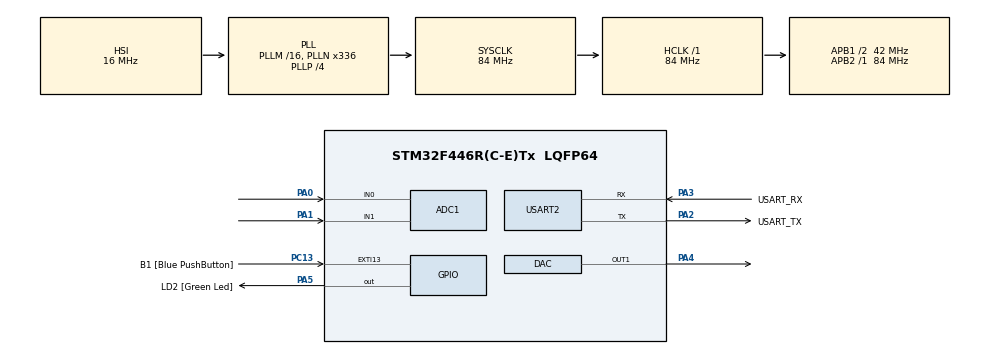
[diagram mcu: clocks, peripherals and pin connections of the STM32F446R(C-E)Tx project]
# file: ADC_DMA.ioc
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ADC1.Channel-0\#ChannelRegularConversion=ADC_CHANNEL_0
ADC1.Channel-1\#ChannelRegularConversion=ADC_CHANNEL_1
ADC1.ContinuousConvMode=DISABLE
ADC1.DMAContinuousRequests=ENABLE
ADC1.EOCSelection=ADC_EOC_SEQ_CONV
ADC1.ExternalTrigConv=ADC_EXTERNALTRIGCONV_T2_TRGO
ADC1.NbrOfConversion=2
ADC1.NbrOfConversionFlag=1
ADC1.Rank-0\#ChannelRegularConversion=1
ADC1.Rank-1\#ChannelRegularConversion=2
ADC1.SamplingTime-0\#ChannelRegularConversion=ADC_SAMPLETIME_56CYCLES
ADC1.SamplingTime-1\#ChannelRegularConversion=ADC_SAMPLETIME_56CYCLES
ADC1.ScanConvMode=ENABLE
ADC1.master=1
Dma.ADC1.0.Direction=DMA_PERIPH_TO_MEMORY
Dma.ADC1.0.FIFOMode=DMA_FIFOMODE_DISABLE
Dma.ADC1.0.Instance=DMA2_Stream0
Dma.ADC1.0.MemDataAlignment=DMA_MDATAALIGN_HALFWORD
Dma.ADC1.0.MemInc=DMA_MINC_ENABLE
Dma.ADC1.0.Mode=DMA_CIRCULAR
Dma.ADC1.0.PeriphDataAlignment=DMA_PDATAALIGN_HALFWORD
Dma.ADC1.0.PeriphInc=DMA_PINC_DISABLE
Dma.ADC1.0.Priority=DMA_PRIORITY_VERY_HIGH
Dma.Request0=ADC1
Mcu.Family=STM32F4
Mcu.Name=STM32F446R(C-E)Tx
Mcu.Package=LQFP64
NVIC.ADC_IRQn=true\:0\:0\:false\:false\:true\:true\:true\:true
NVIC.DMA2_Stream0_IRQn=true\:0\:0\:false\:false\:true\:false\:true\:true
NVIC.PriorityGroup=NVIC_PRIORITYGROUP_0
NVIC.TIM2_IRQn=true\:0\:0\:false\:false\:true\:true\:true\:true
PA0-WKUP.Signal=ADCx_IN0
PA1.Signal=ADCx_IN1
PA13.GPIO_Label=TMS
PA13.Mode=Serial_Wire
PA13.Signal=SYS_JTMS-SWDIO
PA14.GPIO_Label=TCK
PA14.Mode=Serial_Wire
PA14.Signal=SYS_JTCK-SWCLK
PA2.GPIO_Label=USART_TX
PA2.Mode=Asynchronous
PA2.Signal=USART2_TX
PA3.GPIO_Label=USART_RX
PA3.Mode=Asynchronous
PA3.Signal=USART2_RX
PA4.Signal=COMP_DAC1_group
PA5.GPIO_Label=LD2 [Green Led]
PA5.Signal=GPIO_Output
PB3.GPIO_Label=SWO
PB3.Signal=SYS_JTDO-SWO
PC13.GPIO_Label=B1 [Blue PushButton]
PC13.GPIO_ModeDefaultEXTI=GPIO_MODE_IT_FALLING
PC13.Signal=GPXTI13
PC14-OSC32_IN.Mode=LSE-External-Oscillator
PC14-OSC32_IN.Signal=RCC_OSC32_IN
PC15-OSC32_OUT.Mode=LSE-External-Oscillator
PC15-OSC32_OUT.Signal=RCC_OSC32_OUT
PH0-OSC_IN.Mode=HSE-External-Oscillator
PH0-OSC_IN.Signal=RCC_OSC_IN
PH1-OSC_OUT.Mode=HSE-External-Oscillator
PH1-OSC_OUT.Signal=RCC_OSC_OUT
ProjectManager.HeapSize=0x200
ProjectManager.StackSize=0x400
ProjectManager.TargetToolchain=STM32CubeIDE
RCC.48MHZClocksFreq_Value=84000000
RCC.AHBFreq_Value=84000000
RCC.APB1CLKDivider=RCC_HCLK_DIV2
RCC.APB1Freq_Value=42000000
RCC.APB1TimFreq_Value=84000000
RCC.APB2Freq_Value=84000000
RCC.APB2TimFreq_Value=84000000
RCC.CortexFreq_Value=84000000
RCC.FLatency-AdvancedSettings=FLASH_LATENCY_2
RCC.HCLKFreq_Value=84000000
RCC.HSE_VALUE=8000000
RCC.HSI_VALUE=16000000
RCC.PLLN=336
RCC.PLLP=RCC_PLLP_DIV4
RCC.SYSCLKFreq_VALUE=84000000
RCC.SYSCLKSource=RCC_SYSCLKSOURCE_PLLCLK
RCC.USBFreq_Value=168000000
RCC.VCOOutputFreq_Value=336000000
SH.ADCx_IN0.0=ADC1_IN0,IN0
SH.ADCx_IN1.0=ADC1_IN1,IN1
SH.COMP_DAC1_group.0=DAC_OUT1,DAC_OUT1
TIM2.Period=50000-1
TIM2.Prescaler=8400-1
TIM2.TIM_MasterOutputTrigger=TIM_TRGO_UPDATE
USART2.VirtualMode=VM_ASYNC
VP_TIM2_VS_ClockSourceINT.Mode=Internal
board=NUCLEO-F446RE

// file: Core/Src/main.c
/* USER CODE BEGIN Header */
/**
  ******************************************************************************
  * @file           : main.c
  * @brief          : Main program body
  ******************************************************************************
  * @attention
  *
  * Copyright (c) 2024 STMicroelectronics.
  * All rights reserved.
  *
  * This software is licensed under terms that can be found in the LICENSE file
  * in the root directory of this software component.
  * If no LICENSE file comes with this software, it is provided AS-IS.
  *
  ******************************************************************************
  */
/* USER CODE END Header */
#include "main.h"

ADC_HandleTypeDef hadc1;
DMA_HandleTypeDef hdma_adc1;

DAC_HandleTypeDef hdac;

TIM_HandleTypeDef htim2;

UART_HandleTypeDef huart2;

void SystemClock_Config(void);
static void MX_GPIO_Init(void);
static void MX_DMA_Init(void);
static void MX_USART2_UART_Init(void);
static void MX_ADC1_Init(void);
static void MX_DAC_Init(void);
static void MX_TIM2_Init(void);

/* USER CODE BEGIN 0 */
uint16_t adc_values[2] ;

void HAL_ADC_ConvCpltCallback(ADC_HandleTypeDef* hadc){

	if( hadc == &hadc1 ){

	}

}

HAL_TIM_PeriodElapsedCallback(TIM_HandleTypeDef *htim){

	char buffer[100];

	float adc_voltage_0 = ((float)(adc_values[0]) / 4095.0 ) * 3.3 ;
	float adc_voltage_1 = ((float)(adc_values[1]) / 4095.0 ) * 3.3 ;

	sprintf(buffer, "adc1: %f | adc2: %f \n", adc_voltage_0, adc_voltage_1);

	if( htim == &htim2 ){
		HAL_StatusTypeDef result = HAL_UART_Transmit( &huart2, buffer, strlen(buffer), 100);
	}

}

/* USER CODE END 0 */

int main(void)
{

  /* MCU Configuration--------------------------------------------------------*/

  /* Reset of all peripherals, Initializes the Flash interface and the Systick. */
  HAL_Init();

  /* Configure the system clock */
  SystemClock_Config();

  /* Initialize all configured peripherals */
  MX_GPIO_Init();
  MX_DMA_Init();
  MX_USART2_UART_Init();
  MX_ADC1_Init();
  MX_DAC_Init();
  MX_TIM2_Init();
  /* USER CODE BEGIN 2 */
  HAL_DAC_Start( &hdac , DAC_CHANNEL_1 );

  float dac_voltage = 1.15 ;				// voltage to be defined
  float v_max = 3.280 ;					// max voltage of the DAC
  uint32_t max_resolution = 4095 ;		// max value admissible by the DAC (0~4095)

  uint32_t dac_value = max_resolution * (dac_voltage / v_max) ;
  HAL_DAC_SetValue( &hdac, DAC_CHANNEL_1, DAC_ALIGN_12B_R, dac_value ) ;

  HAL_TIM_Base_Start_IT(&htim2);

  HAL_StatusTypeDef result = HAL_ADC_Start_DMA( &hadc1, adc_values, 2);
  /* USER CODE END 2 */

  /* Infinite loop */
  while (1)
  {

  }
}

void SystemClock_Config(void)
{
  RCC_OscInitTypeDef RCC_OscInitStruct = {0};
  RCC_ClkInitTypeDef RCC_ClkInitStruct = {0};

  /** Configure the main internal regulator output voltage
  */
  __HAL_RCC_PWR_CLK_ENABLE();
  __HAL_PWR_VOLTAGESCALING_CONFIG(PWR_REGULATOR_VOLTAGE_SCALE3);

  /** Initializes the RCC Oscillators according to the specified parameters
  * in the RCC_OscInitTypeDef structure.
  */
  RCC_OscInitStruct.OscillatorType = RCC_OSCILLATORTYPE_HSI;
  RCC_OscInitStruct.HSIState = RCC_HSI_ON;
  RCC_OscInitStruct.HSICalibrationValue = RCC_HSICALIBRATION_DEFAULT;
  RCC_OscInitStruct.PLL.PLLState = RCC_PLL_ON;
  RCC_OscInitStruct.PLL.PLLSource = RCC_PLLSOURCE_HSI;
  RCC_OscInitStruct.PLL.PLLM = 16;
  RCC_OscInitStruct.PLL.PLLN = 336;
  RCC_OscInitStruct.PLL.PLLP = RCC_PLLP_DIV4;
  RCC_OscInitStruct.PLL.PLLQ = 2;
  RCC_OscInitStruct.PLL.PLLR = 2;
  if (HAL_RCC_OscConfig(&RCC_OscInitStruct) != HAL_OK)
  {
    Error_Handler();
  }

  /** Initializes the CPU, AHB and APB buses clocks
  */
  RCC_ClkInitStruct.ClockType = RCC_CLOCKTYPE_HCLK|RCC_CLOCKTYPE_SYSCLK
                              |RCC_CLOCKTYPE_PCLK1|RCC_CLOCKTYPE_PCLK2;
  RCC_ClkInitStruct.SYSCLKSource = RCC_SYSCLKSOURCE_PLLCLK;
  RCC_ClkInitStruct.AHBCLKDivider = RCC_SYSCLK_DIV1;
  RCC_ClkInitStruct.APB1CLKDivider = RCC_HCLK_DIV2;
  RCC_ClkInitStruct.APB2CLKDivider = RCC_HCLK_DIV1;

  if (HAL_RCC_ClockConfig(&RCC_ClkInitStruct, FLASH_LATENCY_2) != HAL_OK)
  {
    Error_Handler();
  }
}

static void MX_ADC1_Init(void)
{

  ADC_ChannelConfTypeDef sConfig = {0};

  /** Configure the global features of the ADC (Clock, Resolution, Data Alignment and number of conversion)
  */
  hadc1.Instance = ADC1;
  hadc1.Init.ClockPrescaler = ADC_CLOCK_SYNC_PCLK_DIV4;
  hadc1.Init.Resolution = ADC_RESOLUTION_12B;
  hadc1.Init.ScanConvMode = ENABLE;
  hadc1.Init.ContinuousConvMode = DISABLE;
  hadc1.Init.DiscontinuousConvMode = DISABLE;
  hadc1.Init.ExternalTrigConvEdge = ADC_EXTERNALTRIGCONVEDGE_RISING;
  hadc1.Init.ExternalTrigConv = ADC_EXTERNALTRIGCONV_T2_TRGO;
  hadc1.Init.DataAlign = ADC_DATAALIGN_RIGHT;
  hadc1.Init.NbrOfConversion = 2;
  hadc1.Init.DMAContinuousRequests = ENABLE;
  hadc1.Init.EOCSelection = ADC_EOC_SEQ_CONV;
  if (HAL_ADC_Init(&hadc1) != HAL_OK)
  {
    Error_Handler();
  }

  /** Configure for the selected ADC regular channel its corresponding rank in the sequencer and its sample time.
  */
  sConfig.Channel = ADC_CHANNEL_0;
  sConfig.Rank = 1;
  sConfig.SamplingTime = ADC_SAMPLETIME_56CYCLES;
  if (HAL_ADC_ConfigChannel(&hadc1, &sConfig) != HAL_OK)
  {
    Error_Handler();
  }

  /** Configure for the selected ADC regular channel its corresponding rank in the sequencer and its sample time.
  */
  sConfig.Channel = ADC_CHANNEL_1;
  sConfig.Rank = 2;
  if (HAL_ADC_ConfigChannel(&hadc1, &sConfig) != HAL_OK)
  {
    Error_Handler();
  }

}

static void MX_DAC_Init(void)
{

  DAC_ChannelConfTypeDef sConfig = {0};

  /** DAC Initialization
  */
  hdac.Instance = DAC;
  if (HAL_DAC_Init(&hdac) != HAL_OK)
  {
    Error_Handler();
  }

  /** DAC channel OUT1 config
  */
  sConfig.DAC_Trigger = DAC_TRIGGER_NONE;
  sConfig.DAC_OutputBuffer = DAC_OUTPUTBUFFER_ENABLE;
  if (HAL_DAC_ConfigChannel(&hdac, &sConfig, DAC_CHANNEL_1) != HAL_OK)
  {
    Error_Handler();
  }

}

static void MX_TIM2_Init(void)
{

  TIM_ClockConfigTypeDef sClockSourceConfig = {0};
  TIM_MasterConfigTypeDef sMasterConfig = {0};

  htim2.Instance = TIM2;
  htim2.Init.Prescaler = 8400-1;
  htim2.Init.CounterMode = TIM_COUNTERMODE_UP;
  htim2.Init.Period = 50000-1;
  htim2.Init.ClockDivision = TIM_CLOCKDIVISION_DIV1;
  htim2.Init.AutoReloadPreload = TIM_AUTORELOAD_PRELOAD_DISABLE;
  if (HAL_TIM_Base_Init(&htim2) != HAL_OK)
  {
    Error_Handler();
  }
  sClockSourceConfig.ClockSource = TIM_CLOCKSOURCE_INTERNAL;
  if (HAL_TIM_ConfigClockSource(&htim2, &sClockSourceConfig) != HAL_OK)
  {
    Error_Handler();
  }
  sMasterConfig.MasterOutputTrigger = TIM_TRGO_UPDATE;
  sMasterConfig.MasterSlaveMode = TIM_MASTERSLAVEMODE_DISABLE;
  if (HAL_TIMEx_MasterConfigSynchronization(&htim2, &sMasterConfig) != HAL_OK)
  {
    Error_Handler();
  }

}

static void MX_USART2_UART_Init(void)
{

  huart2.Instance = USART2;
  huart2.Init.BaudRate = 115200;
  huart2.Init.WordLength = UART_WORDLENGTH_8B;
  huart2.Init.StopBits = UART_STOPBITS_1;
  huart2.Init.Parity = UART_PARITY_NONE;
  huart2.Init.Mode = UART_MODE_TX_RX;
  huart2.Init.HwFlowCtl = UART_HWCONTROL_NONE;
  huart2.Init.OverSampling = UART_OVERSAMPLING_16;
  if (HAL_UART_Init(&huart2) != HAL_OK)
  {
    Error_Handler();
  }

}

static void MX_DMA_Init(void)
{

  /* DMA controller clock enable */
  __HAL_RCC_DMA2_CLK_ENABLE();

  /* DMA interrupt init */
  /* DMA2_Stream0_IRQn interrupt configuration */
  HAL_NVIC_SetPriority(DMA2_Stream0_IRQn, 0, 0);
  HAL_NVIC_EnableIRQ(DMA2_Stream0_IRQn);

}

static void MX_GPIO_Init(void)
{
  GPIO_InitTypeDef GPIO_InitStruct = {0};

  /* GPIO Ports Clock Enable */
  __HAL_RCC_GPIOC_CLK_ENABLE();
  __HAL_RCC_GPIOH_CLK_ENABLE();
  __HAL_RCC_GPIOA_CLK_ENABLE();
  __HAL_RCC_GPIOB_CLK_ENABLE();

  /*Configure GPIO pin Output Level */
  HAL_GPIO_WritePin(LD2_GPIO_Port, LD2_Pin, GPIO_PIN_RESET);

  /*Configure GPIO pin : B1_Pin */
  GPIO_InitStruct.Pin = B1_Pin;
  GPIO_InitStruct.Mode = GPIO_MODE_IT_FALLING;
  GPIO_InitStruct.Pull = GPIO_NOPULL;
  HAL_GPIO_Init(B1_GPIO_Port, &GPIO_InitStruct);

  /*Configure GPIO pin : LD2_Pin */
  GPIO_InitStruct.Pin = LD2_Pin;
  GPIO_InitStruct.Mode = GPIO_MODE_OUTPUT_PP;
  GPIO_InitStruct.Pull = GPIO_NOPULL;
  GPIO_InitStruct.Speed = GPIO_SPEED_FREQ_LOW;
  HAL_GPIO_Init(LD2_GPIO_Port, &GPIO_InitStruct);

}

void Error_Handler(void)
{
  __disable_irq();
  while (1)
  {
  }
}
